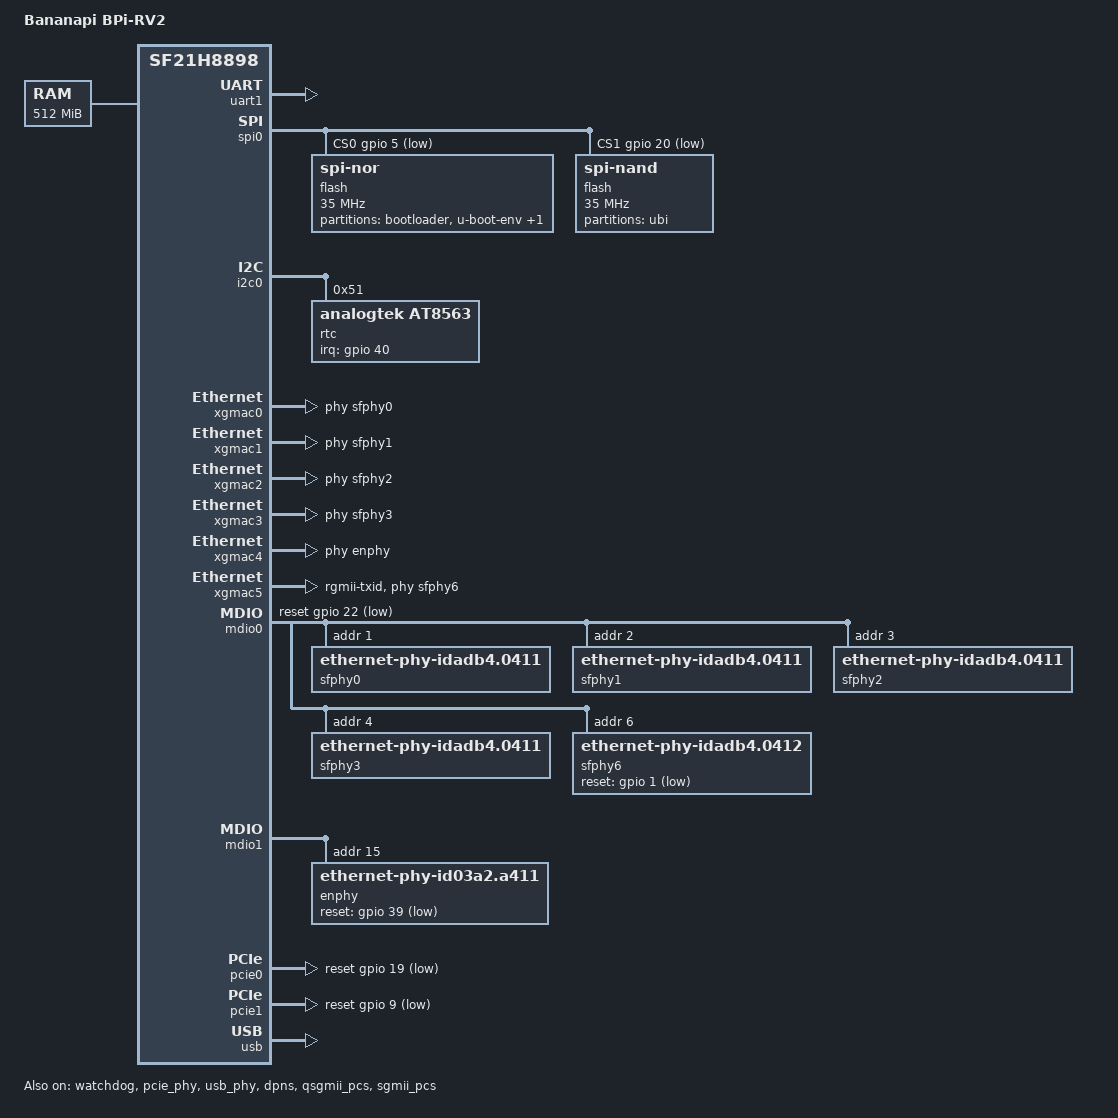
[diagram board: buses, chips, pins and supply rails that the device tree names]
/dts-v1/;
#include "sf21h8898.dtsi"

/ {
	model = "Bananapi BPi-RV2";
	compatible = "bananapi,bpi-rv2", "siflower,sf21h8898";

	chosen {
		bootargs = "root=/dev/fit0 rootwait";
		stdout-path = "serial1:115200n8";
		rootdisk = <&ubi_rootdisk>;
	};

	memory@20000000 {
		device_type = "memory";
		reg = <0x0 0x20000000 0x0 0x20000000>;
	};
};

&spi0_pins {
	pinctrl-single,pins = <
		SPI0_TXD	FUNC_MODE0
		SPI0_RXD	FUNC_MODE0
		SPI0_CLK	FUNC_MODE0
		SPI0_HOLD	FUNC_MODE0
		SPI0_WP		FUNC_MODE0
	>;
};

&watchdog {
	status = "okay";
};

&uart1 {
	status = "okay";
};

&spi0 {
	status = "okay";
	cs-gpios = <&gpio 5 GPIO_ACTIVE_LOW>, <&gpio 20 GPIO_ACTIVE_LOW>;

	flash@0 {
		compatible = "jedec,spi-nor";
		reg = <0>;
		m25p,fast-read;
		spi-max-frequency = <35000000>;
		spi-tx-bus-width = <2>;
		spi-rx-bus-width = <2>;

	        partitions {
			compatible = "fixed-partitions";
			#address-cells = <1>;
			#size-cells = <1>;

			partition@0 {
				label = "bootloader";
				reg = <0x0 0xc0000>;
				read-only;
			};

			partition@c0000 {
				label = "u-boot-env";
				reg = <0xc0000 0x10000>;
			};

			factory: partition@d0000 {
				label = "factory";
				reg = <0xd0000 0x10000>;
			};
		};
	};

	flash@1 {
		compatible = "spi-nand";
		reg = <1>;
		spi-max-frequency = <35000000>;
		spi-tx-bus-width = <2>;
		spi-rx-bus-width = <2>;
		#address-cells = <1>;
		#size-cells = <1>;

	        partitions {
			compatible = "fixed-partitions";
			#address-cells = <1>;
			#size-cells = <1>;

			partition@0 {
				label = "ubi";
				reg = <0x0 0>;

				volumes {
					ubi_rootdisk: ubi-volume-fit {
						volname = "fit";
					};
				};
			};
		};
	};
};

&iomux {
	rtc_int_gpio: rtc-int-pins {
		pinctrl-single,pins = <PHY_INT GPIO_MODE>;
		// disable internal bias as it's externally (and weakly) pulled up
		pinctrl-single,bias-pullup = <0 SW_PU 0 SW_PU>;
		pinctrl-single,bias-pulldown = <0 SW_PD 0 SW_PD>;
	};
};

&i2c0 {
	status = "okay";

	rtc: rtc@51 {
		compatible = "analogtek,at8563", "nxp,pcf8563";
		reg = <0x51>;
		#clock-cells = <0>;
		interrupts-extended = <&gpio 40 IRQ_TYPE_LEVEL_LOW>;
		pinctrl-names = "default";
		pinctrl-0 = <&rtc_int_gpio>;
	};
};

&xgmac0 {
	status = "okay";
	phy-handle = <&sfphy0>;
};

&xgmac1 {
	status = "okay";
	phy-handle = <&sfphy1>;
};

&xgmac2 {
	status = "okay";
	phy-handle = <&sfphy2>;
};

&xgmac3 {
	status = "okay";
	phy-handle = <&sfphy3>;
};

&xgmac4 {
	status = "okay";
	phy-handle = <&enphy>;
};

&xgmac5 {
	status = "okay";
	tx-internal-delay-ps = <2499>;
	rx-internal-delay-ps = <1519>;
	phy-mode = "rgmii-txid";
	phy-handle = <&sfphy6>;
};

&mdio0 {
	reset-gpios = <&gpio 22 GPIO_ACTIVE_LOW>;
	reset-delay-us = <10000>;
	reset-post-delay-us = <100000>;

	sfphy0: ethernet-phy@1 {
		compatible = "ethernet-phy-idadb4.0411";
		reg = <0x1>;
	};

	sfphy1: ethernet-phy@2 {
		compatible = "ethernet-phy-idadb4.0411";
		reg = <0x2>;
	};

	sfphy2: ethernet-phy@3 {
		compatible = "ethernet-phy-idadb4.0411";
		reg = <0x3>;
	};

	sfphy3: ethernet-phy@4 {
		compatible = "ethernet-phy-idadb4.0411";
		reg = <0x4>;
	};

	sfphy6: ethernet-phy@6 {
		compatible = "ethernet-phy-idadb4.0412";
		reg = <0x6>;
		reset-gpios = <&gpio 1 GPIO_ACTIVE_LOW>;
		reset-assert-us = <10000>;
		reset-deassert-us = <100000>;
	};
};

&mdio1 {
	enphy: ethernet-phy@f {
		compatible = "ethernet-phy-id03a2.a411";
		reg = <0xf>;
		reset-gpios = <&gpio 39 GPIO_ACTIVE_LOW>;
		reset-assert-us = <10000>;
		reset-deassert-us = <100000>;
	};
};

&pcie_phy {
	status = "okay";
};

&pcie0 {
	reset-gpios = <&gpio 19 GPIO_ACTIVE_LOW>;
	status = "okay";
};

&pcie1 {
	reset-gpios = <&gpio 9 GPIO_ACTIVE_LOW>;
	status = "okay";
};

&usb_phy {
	status = "okay";
};

&usb {
	status = "okay";
};

&dpns {
	status = "okay";
};

&edma {
	status = "okay";
};

&qsgmii_pcs {
	status = "okay";
};

&sgmii_pcs {
	status = "okay";
};
